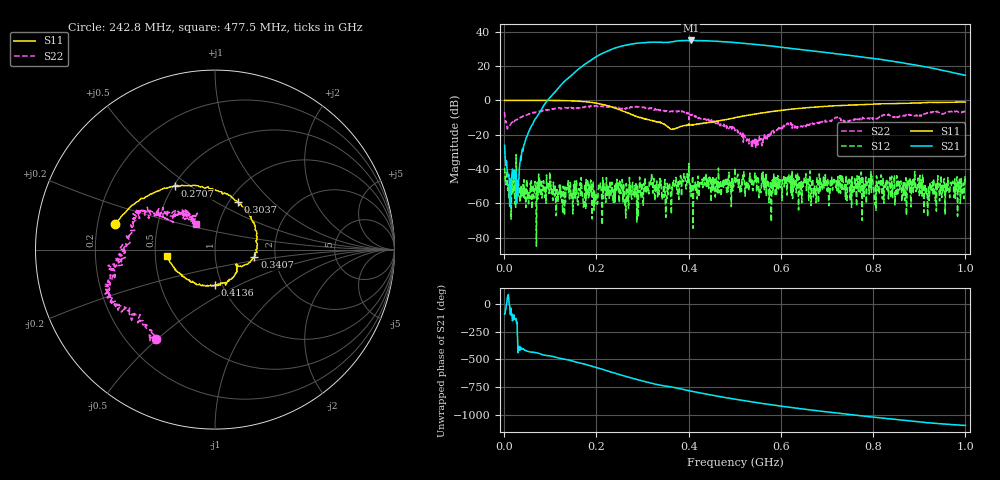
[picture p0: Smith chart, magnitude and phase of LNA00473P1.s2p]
! Created with skrf 1.9.0 (http://scikit-rf.org).
# Hz S RI R 50.0
!freq ReS11 ImS11 ReS21 ImS21 ReS12 ImS12 ReS22 ImS22
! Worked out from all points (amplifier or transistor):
!   1001 points, 1 MHz to 1 GHz, reference 50 ohm
!   highest |S21| = 34.9 dB at 404.6 MHz (marker M1)
!   |S21| within 3 dB of that: 259.8 MHz to 569.1 MHz (309.4 MHz wide, 74.6 % of centre)
!   unconditionally stable (mu >= 1): 221.9 MHz to 293.6 MHz; 319.9 MHz to 400.4 MHz; 400.7 MHz to end of sweep (the widest 3 of 36)
!   at 166.8 MHz: K = 0.94, MSG = 32.2 dB, |S12| = -45.0 dB
!   at 500.5 MHz: K = 1.07, MAG = 34.8 dB, |S12| = -39.3 dB
!   at 1 GHz: K = 3.54, MAG = 22.9 dB, |S12| = -48.0 dB
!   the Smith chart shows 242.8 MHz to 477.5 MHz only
!   S11 on the Smith chart (normalised r, x): 242.8 MHz: 0.27, +0.12; 270.7 MHz: 0.51, +0.44; 303.7 MHz: 1.10, +0.64; 340.7 MHz: 1.55, -0.13; 413.6 MHz: 0.92, -0.38; 477.5 MHz: 0.57, -0.04
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1000000  0.9971 0.0125  -0.00174 -0.0493  -0.0109 -0.000596  0.3341 0.3137
1.08892e8  0.5179 -0.8499  -0.7901 -1.48  -0.00143 0.00104  0.4228 -0.3762
1.67833e8  -0.2337 -0.9017  -9.611 -0.5465  -0.00326 -0.0019  0.0398 -0.6277
2.09791e8  -0.6716 -0.3896  -15.26 16.1  -0.000456 -0.00268  -0.1985 -0.6481
2.42758e8  -0.5596 0.142  -0.5492 34.04  -0.00359 -0.00117  -0.3301 -0.4957
2.7073e8  -0.223 0.3558  23.04 35.28  -0.000934 0.00275  -0.5224 -0.3475
3.03697e8  0.1298 0.264  45.15 16.29  -0.0023 0.000523  -0.5995 -0.1945
3.34666e8  0.2349 0.00491  48.59 -9.267  0.00185 0.00325  -0.5212 -0.0345
3.4066e8  0.2191 -0.0405  47.18 -13.43  0.000119 0.00254  -0.5197 -0.0116
3.74626e8  0.121 -0.0947  40.74 -34.41  -0.00208 -0.00016  -0.4186 0.1749
4.04596e8  0.044 -0.1875  21.54 -51.15  2.71e-05 0.00349  -0.3174 0.1926
4.13587e8  -0.000947 -0.1977  14.58 -53.21  -0.000286 0.00301  -0.2793 0.208
4.42558e8  -0.1453 -0.1666  -7.509 -53.49  0.00462 0.00012  -0.1822 0.2211
4.77523e8  -0.27 -0.0333  -28.58 -42.15  0.00242 0.00215  -0.1048 0.1405
5.005e8  -0.3016 0.1003  -37.48 -30.65  0.0099 0.00437  -0.0737 0.1083
5.4046e8  -0.2408 0.3099  -41.98 -9.467  0.00269 -0.0013  -0.0556 0.0189
5.88412e8  -0.0516 0.4831  -35.27 10.8  0.000231 -0.00161  -0.1172 -0.067
6.67333e8  0.3278 0.537  -13.98 23.62  8.09e-05 -0.00433  -0.1973 -0.056
7.55245e8  0.6416 0.3562  4.032 19.39  0.000268 -0.00277  -0.2618 0.0121
8.34166e8  0.7899 0.125  10.55 9.666  -0.000737 -0.00249  -0.3676 -0.0175
9.13087e8  0.8461 -0.1492  9.368 1.401  -0.00189 -0.000687  -0.3773 0.1462
1e9  0.8 -0.4103  5.112 -1.67  0.00338 0.00215  -0.3681 0.2944
